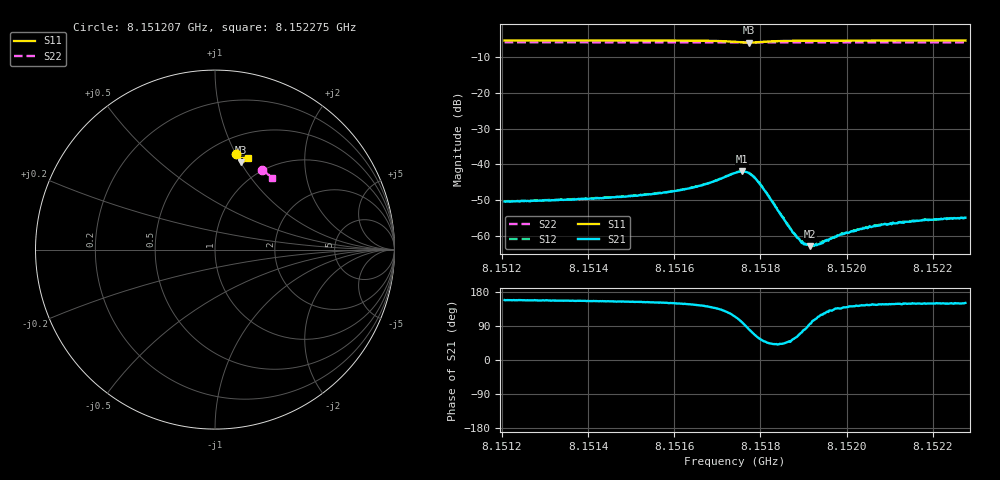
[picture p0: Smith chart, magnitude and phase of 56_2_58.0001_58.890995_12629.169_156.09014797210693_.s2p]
#  HZ  S  RI  R  50.00
! Rohde & Schwarz Vector Network Analyzer
! Rohde-Schwarz,ZNB20-2Port,1311601062101988,3.16
! Created: UTC 3/21/2024, 12:52:47 AM
! freq[Hz]  re:S11  im:S11  re:S21  im:S21  re:S12  im:S12  re:S22  im:S22
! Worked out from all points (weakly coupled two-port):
!   401 points, 8.151207 GHz to 8.152275 GHz, reference 50 ohm
!   highest |S21| = -41.93 dB at 8.151757 GHz (marker M1); lowest = -62.8 dB at 8.151915 GHz (marker M2)
!   lowest |S11| = -5.9 dB at 8.151773 GHz (marker M3), VSWR 3.07, Z = 38.3 + j50.4 ohm
!   |S11| at or under -10 dB: nowhere
!   |S22| runs from -5.8 to -5.8 dB; largest |S21 - S12| = 0.00016
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8.1512065e9  0.1195 0.53  -0.00281 0.00112  -0.00278 0.00116  0.2645 0.4408
8.1513856e9  0.1331 0.527  -0.003 0.00132  -0.00302 0.00138  0.2744 0.4345
8.1514818e9  0.1408 0.525  -0.00321 0.00154  -0.00319 0.00162  0.2795 0.4309
8.1515646e9  0.1481 0.5223  -0.00348 0.00191  -0.00348 0.00194  0.2839 0.4279
8.1516127e9  0.1529 0.52  -0.00374 0.00223  -0.00372 0.00232  0.2865 0.4261
8.1516608e9  0.1587 0.5161  -0.00409 0.00297  -0.00409 0.00304  0.2893 0.4242
8.1516929e9  0.1629 0.5112  -0.00431 0.00395  -0.00423 0.00403  0.2908 0.4226
8.151741e9  0.1638 0.4948  -0.00317 0.00692  -0.0031 0.00701  0.293 0.4203
8.151757e9  0.157 0.4881  -0.00136 0.00789  -0.00124 0.00797  0.2934 0.4197
8.151773e9  0.1458 0.4873  0.00115 0.0075  0.00123 0.00754  0.2939 0.4193
8.1517864e9  0.1382 0.4926  0.00257 0.006  0.00267 0.00603  0.2943 0.419
8.1517998e9  0.1353 0.5004  0.003 0.00428  0.00309 0.00428  0.2951 0.4191
8.1518799e9  0.149 0.5178  0.000565 0.000896  0.000589 0.000852  0.2997 0.4165
8.1518986e9  0.1519 0.5183  0.000175 0.00079  0.000199 0.00076  0.3008 0.4158
8.1519147e9  0.1542 0.5185  -6.61e-05 0.000719  -9.12e-05 0.000754  0.3016 0.4151
8.15192e9  0.1548 0.5186  -0.000156 0.000725  -0.000126 0.00071  0.3021 0.4148
8.1519387e9  0.1572 0.5186  -0.000359 0.000684  -0.000328 0.000741  0.3028 0.4141
8.1519922e9  0.1629 0.5179  -0.000806 0.000702  -0.000766 0.000733  0.3057 0.4121
8.152059e9  0.169 0.5167  -0.00112 0.000728  -0.00112 0.000789  0.3093 0.4093
8.1520991e9  0.1722 0.5159  -0.00124 0.000785  -0.00122 0.000806  0.3112 0.4078
8.1521766e9  0.1783 0.5143  -0.00142 0.00087  -0.0014 0.000896  0.3151 0.4046
8.1522754e9  0.1854 0.512  -0.00156 0.000881  -0.00154 0.000931  0.3202 0.4006
